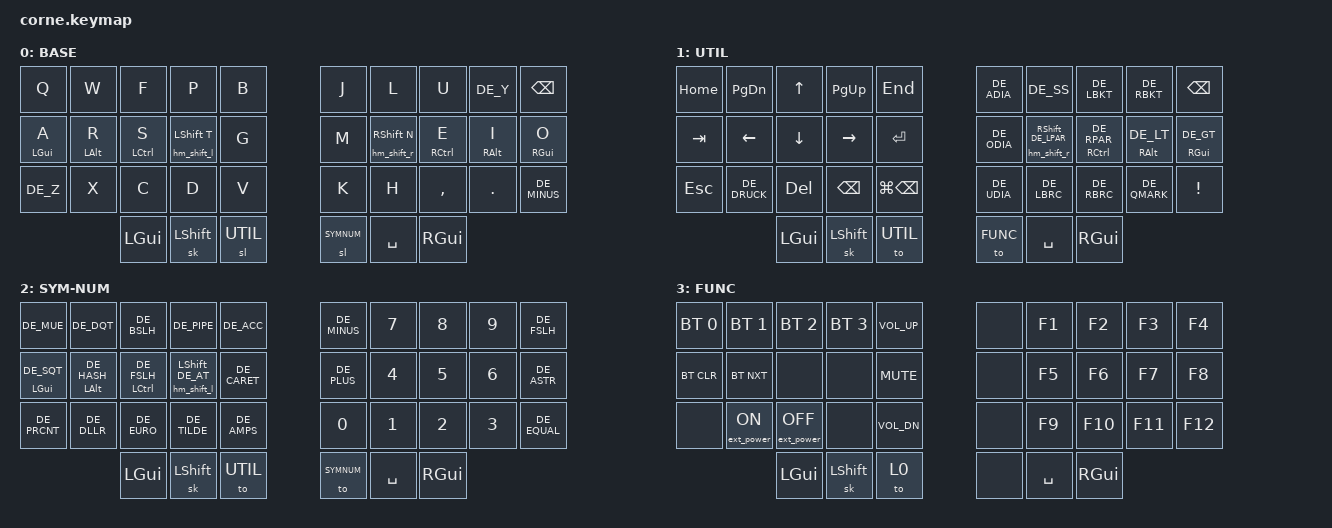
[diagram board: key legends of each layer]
/*
 * Copyright (c) 2020 The ZMK Contributors
 *
 * SPDX-License-Identifier: MIT
 */

#include <behaviors.dtsi>
#include <dt-bindings/zmk/keys.h>
#include <dt-bindings/zmk/bt.h>
#include <dt-bindings/zmk/ext_power.h>

#include "includes/behaviours_homerow_mods.dtsi"
#include "includes/custom_keycodes.dtsi"

/////////////////
// Layer definition
#define DEFAULT 0
#define UTIL   1
#define SYMNUM   2
#define FUNC   3

&sk {
    release-after-ms = <1500>;
	quick-release;
    ignore-modifiers;
};

&sl {
    release-after-ms = <1500>;
};

/ {
        chosen {
              zmk,matrix_transform = &five_column_transform;
        };



        keymap {
                compatible = "zmk,keymap";

       /*.--------------------------------------.                         .----------------------------------------.
         |  Q   |   W   |   F   |   P   |   B   |                         |   J   |   L   |   U   |   Y   |  BSPC  |
         |------+-------+-------+-------+-------|                         |-------+-------+-------+-------+--------|
         |  A   |   R   |   S   |   T   |   G   |                         |   M   |   N   |   E   |   I   |   O    |
         |------+-------+-------+-------+-------|                         |-------+-------+-------+-------+--------|
         |  Z   |   X   |   C   |   D   |   V   |                         |   K   |   H   |   ,   |    .  |   -    |
         '-----------------------------------------------|     |---------------------------------------------------'
                        |WIN/GUI|  SHIFT     |   UTIL |     | SYMNUM   |  SPACE    |   WIN/GUI |
                        '--------------------------------'     '----------------------------------'*/
   
                base_layer {
                    label = "BASE";
			bindings = <
			&kp Q           &kp W           &kp F           &kp P                   &kp B                   &kp J         &kp L                     &kp U           &kp DE_Y        &kp BSPC
	     	&hm_l LGUI A    &hm_l LALT R    &hm_l LCTRL S   &hm_shift_l LSHFT T     &kp G                   &kp M         &hm_shift_r RSHFT N       &hm_r RCTRL E   &hm_r RALT I    &hm_r RGUI O          
			&kp DE_Z        &kp X           &kp C           &kp D                   &kp V                   &kp K         &kp H                     &kp COMMA       &kp DOT         &kp DE_MINUS
			                                &kp LGUI       &sk LSHIFT              &sl UTIL                &sl SYMNUM    &kp SPACE                 &kp RGUI
			>;
            
		};

       

       /*.--------------------------------------.                         .----------------------------------------.
         | HOME | PG_DN |  UP   | PG_UP |  END  |                         |   Ä   |   ß   |   U   |   Y   |  BSPC  |
         |------+-------+-------+-------+-------|                         |-------+-------+-------+-------+--------|
         | TAB  |  LEFT | DOWN  | RIGHT | ENTER |                         |   Ö   |   (   |   )   |   <   |   >    |
         |------+-------+-------+-------+-------|                         |-------+-------+-------+-------+--------|
         | ESC  | PSCRN |  DEL  |  BSPC |  BSPC |                         |   Ü   |   {   |   }   |   ?   |   !    |
         '-----------------------------------------------|     |---------------------------------------------------'
                        |  CTRL    |  SHIFT     |   UTIL |     |  FUNC   |  SPACE    |   WIN/GUI |
                        '--------------------------------'     '----------------------------------'*/

                util_layer {
                    label = "UTIL";
			bindings = <
			&kp HOME        &kp PG_DN &kp UP     &kp PG_UP &kp END                      &kp DE_ADIA  &kp DE_SS                     &kp DE_LBKT             &kp DE_RBKT             &kp BSPC
	                &kp TAB         &kp LEFT  &kp DOWN   &kp RIGHT &kp ENTER             &kp DE_ODIA  &hm_shift_r RSHFT DE_LPAR     &hm_r RCTRL DE_RPAR     &hm_r RALT DE_LT        &hm_r RGUI DE_GT    
			&kp ESC         &kp DE_DRUCK &kp DEL    &kp BSPC  &kp LG(BSPC)                 &kp DE_UDIA  &kp DE_LBRC                   &kp DE_RBRC             &kp DE_QMARK            &kp EXCL
				                  &kp LGUI  &sk LSHIFT  &to UTIL            &to FUNC     &kp SPACE                     &kp RGUI
			>;
		};

       /*.--------------------------------------.                         .----------------------------------------.
         |      |   "   |   \   |   |   |       |                         |   -   |   7   |   8   |   9   |   /    |
         |------+-------+-------+-------+-------|                         |-------+-------+-------+-------+--------|
         |   '  |   #   |   /   |   @   |   ^   |                         |   +   |   4   |   5   |   6   |   *    |
         |------+-------+-------+-------+-------|                         |-------+-------+-------+-------+--------|
         |   %  |   $   |   €   |   ~   |   &   |                         |   0   |   1   |   2   |   3   |   =    |
         '-----------------------------------------------|     |---------------------------------------------------'
                        |WIN/GUI|  SHIFT     |   UTIL |     | SYMNUM   |  SPACE    |   WIN/GUI |
                        '--------------------------------'     '----------------------------------'*/

                symnum_layer {
                    label = "SYM-NUM";
			bindings = <
			&kp DE_MUE                   &kp DE_DQT              &kp DE_BSLH             &kp DE_PIPE             &kp DE_ACC                   &kp DE_MINUS	&kp N7  &kp N8  &kp N9  &kp DE_FSLH
			&hm_l LGUI DE_SQT       &hm_l LALT DE_HASH      &hm_l LCTRL DE_FSLH     &hm_shift_l LSHFT DE_AT &kp DE_CARET            &kp DE_PLUS     &kp N4  &kp N5  &kp N6  &kp DE_ASTR       
			&kp DE_PRCNT            &kp DE_DLLR             &kp DE_EURO             &kp DE_TILDE            &kp DE_AMPS             &kp N0    	&kp N1  &kp N2  &kp N3  &kp DE_EQUAL
				                                        &kp LGUI               &sk LSHIFT              &to UTIL                &to SYMNUM      &kp SPACE &kp RGUI 
			>;
		};


       /*.--------------------------------------.                         .----------------------------------------.
         | BT0  |  BT1  |  BT2  |  BT3  | VOL_UP|                         |       |   F1  |   F2  |   F3  |   F4   |
         |------+-------+-------+-------+-------|                         |-------+-------+-------+-------+--------|
         |BT_CLR| BT_NXT|       |       |  MUTE |                         |       |   F5  |   F6  |   F7  |   F8   |
         |------+-------+-------+-------+-------|                         |-------+-------+-------+-------+--------|
         |      |PWR ON |PWR OFF|       | VOL_DN|                         |       |   F9  |   F10 |   F11 |   F12  |
         '-----------------------------------------------|     |---------------------------------------------------'
                        |  CTRL    |   SHIFT    |  BASE  |     |          |  SPACE    |   WIN/GUI |
                        '--------------------------------'     '----------------------------------'*/


		function_layer {
                    label = "FUNC";
			bindings = <
			&bt BT_SEL 0  &bt BT_SEL 1      &bt BT_SEL 2        &bt BT_SEL 3    &kp K_VOL_UP              &none    &kp F1     &kp F2     &kp F3     &kp F4
			&bt BT_CLR    &bt BT_NXT        &none               &none     	    &kp K_MUTE               &none    &kp F5     &kp F6     &kp F7     &kp F8   
			&none         &ext_power EP_ON  &ext_power EP_OFF   &none           &kp K_VOL_DN             &none    &kp F9     &kp F10    &kp F11    &kp F12
				                              &kp LGUI        &sk LSHIFT      &to 0                   &none   &kp SPACE &kp RGUI 
			>;
		};
    };
};

// display settings
// from https://discord.com/channels/675924128108118016/991852441832259714/1047447484475133963 
&nice_view_spi {
    cs-gpios = <&pro_micro 0 GPIO_ACTIVE_HIGH>;
};

